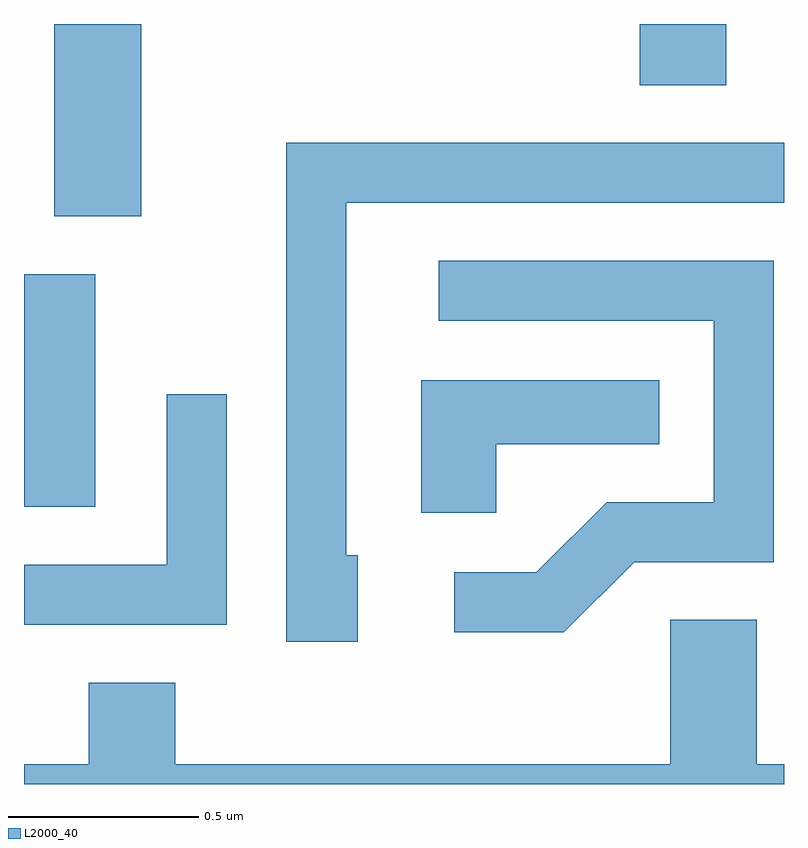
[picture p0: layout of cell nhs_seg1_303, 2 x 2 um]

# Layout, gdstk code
import gdstk
lib = gdstk.Library(unit=1e-6, precision=1e-09)
def R(c, l, rs):  # rectangles x0, y0, x1, y1
    for r in rs: c.add(gdstk.rectangle(r[:2], r[2:], *l))
def P(c, l, *ps):  # polygons
    for p in ps: c.add(gdstk.Polygon(p, *l))
L2000_40 = (2000, 40)

nhs_seg1_303 = lib.new_cell('nhs_seg1_303')
R(nhs_seg1_303, L2000_40, [(187.611,869.441,187.799,870.054), (187.691,870.206,187.919,870.712), (189.231,870.551,189.459,870.712)])
P(nhs_seg1_303, L2000_40, [(188.489,869.314),(188.459,869.314),(188.459,870.241),(189.611,870.241),(189.611,870.399),(188.301,870.399),(188.301,869.086),(188.489,869.086)],
  [(189.217,869.296),(189.584,869.296),(189.584,870.089),(188.703,870.089),(188.703,869.931),(189.426,869.931),(189.426,869.454),(189.144,869.454),(188.959,869.269),(188.743,869.269),(188.743,869.111),(189.032,869.111)],
  [(188.854,869.606),(189.283,869.606),(189.283,869.774),(188.656,869.774),(188.656,869.426),(188.854,869.426)],
  [(188.144,869.738),(187.986,869.738),(187.986,869.289),(187.611,869.289),(187.611,869.131),(188.144,869.131)],
  [(189.611,868.764),(189.539,868.764),(189.539,869.144),(189.311,869.144),(189.311,868.764),(188.009,868.764),(188.009,868.979),(187.781,868.979),(187.781,868.764),(187.611,868.764),(187.611,868.712),(189.611,868.712)])

lib.write_gds('nhs_seg1_303.gds')
